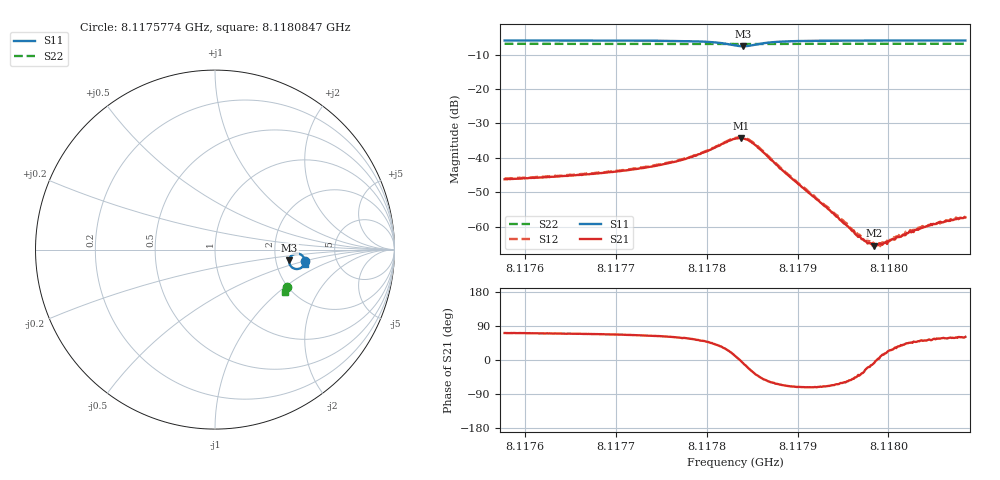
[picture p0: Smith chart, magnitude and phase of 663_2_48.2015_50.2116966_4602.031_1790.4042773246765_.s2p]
#  HZ  S  RI  R  50.00
! Rohde & Schwarz Vector Network Analyzer
! Rohde-Schwarz,ZNB20-2Port,1311601062101988,3.16
! Created: UTC 3/20/2024, 12:05:49 PM
! freq[Hz]  re:S11  im:S11  re:S21  im:S21  re:S12  im:S12  re:S22  im:S22
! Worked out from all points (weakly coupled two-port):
!   401 points, 8.1175774 GHz to 8.1180847 GHz, reference 50 ohm
!   highest |S21| = -34.27 dB at 8.1178374 GHz (marker M1); lowest = -65.6 dB at 8.1179845 GHz (marker M2)
!   lowest |S11| = -7.6 dB at 8.1178399 GHz (marker M3), VSWR 2.43, Z = 119 - j17 ohm
!   |S11| at or under -10 dB: nowhere
!   |S22| runs from -6.9 to -6.9 dB; largest |S21 - S12| = 0.00066
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8.11757738e9  0.5029 -0.0615  0.00157 0.00462  0.00162 0.00474  0.4031 -0.2063
8.11766236e9  0.5006 -0.0716  0.00203 0.00526  0.00214 0.00542  0.4004 -0.2119
8.11770548e9  0.4986 -0.078  0.00252 0.00592  0.00259 0.00605  0.399 -0.2147
8.11774734e9  0.4941 -0.0866  0.00354 0.00697  0.00365 0.00712  0.3975 -0.2175
8.11778539e9  0.4833 -0.0991  0.00612 0.00865  0.00622 0.00883  0.3956 -0.2202
8.11781583e9  0.4515 -0.1082  0.0128 0.00913  0.013 0.00918  0.3934 -0.2221
8.11783104e9  0.4202 -0.089  0.0185 0.0037  0.0189 0.00389  0.3919 -0.2217
8.11783739e9  0.413 -0.0686  0.0193 -0.000737  0.0199 -0.00065  0.3913 -0.2211
8.11783992e9  0.4131 -0.0593  0.019 -0.00272  0.0194 -0.00267  0.3915 -0.2208
8.11784626e9  0.4218 -0.0384  0.0165 -0.0069  0.017 -0.00704  0.3919 -0.2204
8.11785514e9  0.4446 -0.0232  0.0113 -0.00947  0.0116 -0.00976  0.3929 -0.2206
8.11787797e9  0.4833 -0.031  0.00346 -0.00689  0.00349 -0.00706  0.3937 -0.2227
8.11791602e9  0.4979 -0.0516  0.000884 -0.00269  0.000912 -0.00278  0.3928 -0.2261
8.11795153e9  0.5003 -0.0622  0.000578 -0.000936  0.000607 -0.001  0.3917 -0.2287
8.11796422e9  0.5006 -0.065  0.000538 -0.000548  0.000539 -0.000534  0.3914 -0.2295
8.11797563e9  0.5007 -0.0671  0.00056 -0.00024  0.000579 -0.000267  0.3909 -0.2303
8.11798451e9  0.5006 -0.0687  0.000523 -6.63e-05  0.000535 -7.84e-05  0.3907 -0.2309
8.11799212e9  0.5006 -0.07  0.000544 0.000109  0.000554 0.000138  0.3904 -0.2314
8.118001e9  0.5008 -0.0714  0.000563 0.000269  0.000574 0.000248  0.3902 -0.2321
8.11802636e9  0.5005 -0.0751  0.00061 0.000615  0.000582 0.000626  0.3893 -0.2336
8.11804412e9  0.5004 -0.0774  0.000617 0.00084  0.000597 0.000877  0.3887 -0.2347
8.1180847e9  0.4999 -0.082  0.000658 0.00119  0.000721 0.00122  0.3872 -0.2373
